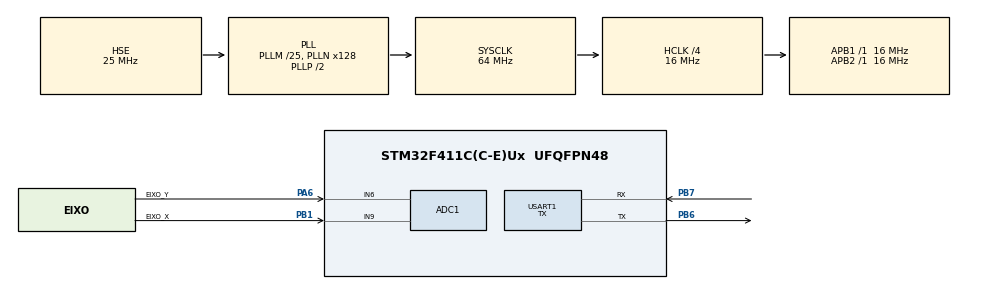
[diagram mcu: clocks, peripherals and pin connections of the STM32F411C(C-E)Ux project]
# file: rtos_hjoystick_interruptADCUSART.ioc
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ADC1.Channel-0\#ChannelRegularConversion=ADC_CHANNEL_9
ADC1.NbrOfConversionFlag=1
ADC1.Rank-0\#ChannelRegularConversion=1
ADC1.SamplingTime-0\#ChannelRegularConversion=ADC_SAMPLETIME_112CYCLES
ADC1.master=1
FREERTOS.Events01=adcEvent,Dynamic,NULL;usartEvent,Dynamic,NULL
FREERTOS.Queues01=sampleQueue,16,SamplePair_t,0,Dynamic,NULL,NULL
FREERTOS.Tasks01=adcTask,24,128,AdcTask,Default,NULL,Dynamic,NULL,NULL;usartTask,8,128,UsartTask,Default,NULL,Dynamic,NULL,NULL
FREERTOS.configUSE_NEWLIB_REENTRANT=1
Mcu.Family=STM32F4
Mcu.Name=STM32F411C(C-E)Ux
Mcu.Package=UFQFPN48
NVIC.ADC_IRQn=true\:5\:0\:false\:false\:true\:true\:true\:true\:true
NVIC.PriorityGroup=NVIC_PRIORITYGROUP_4
NVIC.TIM2_IRQn=true\:15\:0\:false\:false\:true\:false\:false\:true\:true
NVIC.TimeBase=TIM2_IRQn
NVIC.TimeBaseIP=TIM2
NVIC.USART1_IRQn=true\:5\:0\:true\:false\:true\:true\:true\:true\:true
PA13.Mode=Serial_Wire
PA13.Signal=SYS_JTMS-SWDIO
PA14.Mode=Serial_Wire
PA14.Signal=SYS_JTCK-SWCLK
PA6.GPIO_Label=EIXO_Y
PA6.Signal=ADCx_IN6
PB1.GPIO_Label=EIXO_X
PB1.Signal=ADCx_IN9
PB6.Mode=Asynchronous
PB6.Signal=USART1_TX
PB7.Mode=Asynchronous
PB7.Signal=USART1_RX
PH0\ -\ OSC_IN.Mode=HSE-External-Oscillator
PH0\ -\ OSC_IN.Signal=RCC_OSC_IN
PH1\ -\ OSC_OUT.Mode=HSE-External-Oscillator
PH1\ -\ OSC_OUT.Signal=RCC_OSC_OUT
ProjectManager.HeapSize=0x200
ProjectManager.StackSize=0x400
ProjectManager.TargetToolchain=STM32CubeIDE
RCC.48MHZClocksFreq_Value=32000000
RCC.AHBCLKDivider=RCC_SYSCLK_DIV4
RCC.AHBFreq_Value=16000000
RCC.APB1Freq_Value=16000000
RCC.APB1TimFreq_Value=16000000
RCC.APB2Freq_Value=16000000
RCC.APB2TimFreq_Value=16000000
RCC.CortexFreq_Value=16000000
RCC.HCLKFreq_Value=16000000
RCC.HSE_VALUE=25000000
RCC.HSI_VALUE=16000000
RCC.LSE_VALUE=32768
RCC.PLLM=25
RCC.PLLN=128
RCC.PLLSourceVirtual=RCC_PLLSOURCE_HSE
RCC.SYSCLKFreq_VALUE=64000000
RCC.SYSCLKSource=RCC_SYSCLKSOURCE_PLLCLK
RCC.VCOOutputFreq_Value=128000000
SH.ADCx_IN6.0=ADC1_IN6,IN6
SH.ADCx_IN9.0=ADC1_IN9,IN9
USART1.Mode=MODE_TX
USART1.VirtualMode=VM_ASYNC
VP_FREERTOS_VS_CMSIS_V2.Mode=CMSIS_V2
VP_SYS_VS_tim2.Mode=TIM2
board=custom

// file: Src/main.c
/* USER CODE BEGIN Header */
/**
  ******************************************************************************
  * @file           : main.c
  * @brief          : Este projeto realiza as mesmas tarefas do projeto "hjoystick_interruptADCUSART"
  * 				  Os códigos foram desenvolvidos em cima dos códigos gerados pelo STM32CubeMX.
  * @author			: Wu Shin Ting
  * @date			: 19/03/2026
  *
  ******************************************************************************
  * @attention
  *
  * Copyright (c) 2026 STMicroelectronics.
  * All rights reserved.
  *
  * This software is licensed under terms that can be found in the LICENSE file
  * in the root directory of this software component.
  * If no LICENSE file comes with this software, it is provided AS-IS.
  *
  ******************************************************************************
  *
  * @section overview Visão Geral
  *
  * Este projeto implementa um sistema embarcado baseado em RTOS no qual os
  * periféricos ADC e USART são modelados segundo o padrão produtor-consumidor.
  *
  * - O ADC atua como produtor de dados, realizando conversões em dois canais:
  *   - IN6 (eixo Y)
  *   - IN9 (eixo X)
  *
  * - A USART atua como consumidora, sendo responsável por transmitir os dados
  *   adquiridos para um Terminal Serial.
  *
  * A comunicação entre produtor e consumidor é realizada por meio de uma fila
  * (queue), garantindo desacoplamento temporal e estrutural entre aquisição e
  * transmissão.
  *
  * Para preservar o disparo por software das conversões ADC em dois canais
  * distintos, utiliza-se um mecanismo de sincronização baseado em flags de
  * evento. Esse mecanismo coordena:
  * - O callback @ref HAL_ADC_ConvCpltCallback, que indica o término de uma
  *   conversão individual;
  * - A task responsável pelo ADC (AdcTask), que dispara a aquisição de um novo
  *   par de amostras (eixo X, eixo Y).
  *
  * Dessa forma, garante-se que cada ciclo completo de aquisição (par de canais)
  * seja tratado como uma unidade lógica antes de iniciar um novo ciclo.
  *
  * @section user_code Código Implementado Manualmente
  *
  * Os principais elementos implementados manualmente são:
  * - Estrutura @c SamplePair_t para armazenar pares de amostras (IN6, IN9)
  * - Callback @ref HAL_ADC_ConvCpltCallback para:
  *   - alternar dinamicamente o canal ADC
  *   - montar pares de amostras
  *   - enviar dados para a fila
  * - Uso de:
  *   - @c osMessageQueuePut para comunicação com tasks
  *   - função @c setaAdcEventFlag para sincronização com a AdcTask
  *
  * O sistema evita processamento pesado em interrupções, delegando o fluxo
  * principal de controle para tarefas RTOS.
  *
  * @section mental_model Modelo Mental do Sistema
  *
  * O comportamento do sistema pode ser descrito pelo seguinte fluxo:
  *
  * @code
  * [AdcTask]
  *     ↓ (disparo de conversão)
  * [ADC]
  *     ↓ (interrupção)
  * [HAL_ADC_ConvCpltCallback]
  *     ↓
  * [montagem parcial ou completa do par]
  *     ↓
  * [fila RTOS]
  *     ↓
  * [Task consumidora (ex: USART)]
  * @endcode
  *
  * E para sincronização do ciclo completo:
  *
  * @code
  * Callback de EOC → seta flag → AdcTask libera novo ciclo
  * Callback de TXE → seta flag → UsartTask libera nova trasnsmissão
  * @endcode
  *
  * Esse modelo garante:
  * - desacoplamento entre aquisição e processamento
  * - previsibilidade temporal
  * - ausência de polling
  *
  * @section cube_config Configuração no CubeMX
  *
  * As principais configurações realizadas no CubeMX incluem:
  *
  * - ADC:
  *   - Modo com interrupção (IT)
  *   - Um canal ativo por vez (reconfigurado dinamicamente)
  *
  * - USART:
  *   - Configurada para transmissão de dados
  *
  * - FreeRTOS (CMSIS-v2):
  *   - Uso de filas (message queues)
  *   - Uso de event flags para sincronização
  *
  * - Clock:
  *   - Fonte externa (HSE) com PLL habilitado
  *
  * - GPIO:
  *   - Configuração dos pinos analógicos e UART
  *
  * A separação entre código gerado e código do usuário é mantida por meio
  * das regiões @c USER CODE, garantindo compatibilidade com regeneração automática.
  */

/* USER CODE END Header */
#include "main.h"
#include "cmsis_os.h"
#include "adc.h"
#include "usart.h"
#include "gpio.h"

/* USER CODE BEGIN PV */
SamplePair_t amostra;
volatile uint8_t adc_channel = 9;  /**< Canal ADC atualmente em conversão (começa com PB1) */

/* USER CODE END PV */

void SystemClock_Config(void);
void MX_FREERTOS_Init(void);
/* USER CODE BEGIN PFP */
void setaAdcEventFlag ();
void setaUsartEventFlag ();
void le_amostras();
/* USER CODE END PFP */

int main(void)
{

  /* MCU Configuration--------------------------------------------------------*/

  /* Reset of all peripherals, Initializes the Flash interface and the Systick. */
  HAL_Init();

  /* Configure the system clock */
  SystemClock_Config();

  /* Initialize all configured peripherals */
  MX_GPIO_Init();
  MX_ADC1_Init();
  MX_USART1_UART_Init();

  /* Init scheduler */
  osKernelInitialize();  /* Call init function for freertos objects (in cmsis_os2.c) */
  MX_FREERTOS_Init();

  /* Start scheduler */
  osKernelStart();

  /* We should never get here as control is now taken by the scheduler */

  /* Infinite loop */
  while (1)
  {

  }
}

void SystemClock_Config(void)
{
  RCC_OscInitTypeDef RCC_OscInitStruct = {0};
  RCC_ClkInitTypeDef RCC_ClkInitStruct = {0};

  /** Configure the main internal regulator output voltage
  */
  __HAL_RCC_PWR_CLK_ENABLE();
  __HAL_PWR_VOLTAGESCALING_CONFIG(PWR_REGULATOR_VOLTAGE_SCALE1);

  /** Initializes the RCC Oscillators according to the specified parameters
  * in the RCC_OscInitTypeDef structure.
  */
  RCC_OscInitStruct.OscillatorType = RCC_OSCILLATORTYPE_HSE;
  RCC_OscInitStruct.HSEState = RCC_HSE_ON;
  RCC_OscInitStruct.PLL.PLLState = RCC_PLL_ON;
  RCC_OscInitStruct.PLL.PLLSource = RCC_PLLSOURCE_HSE;
  RCC_OscInitStruct.PLL.PLLM = 25;
  RCC_OscInitStruct.PLL.PLLN = 128;
  RCC_OscInitStruct.PLL.PLLP = RCC_PLLP_DIV2;
  RCC_OscInitStruct.PLL.PLLQ = 4;
  if (HAL_RCC_OscConfig(&RCC_OscInitStruct) != HAL_OK)
  {
    Error_Handler();
  }

  /** Initializes the CPU, AHB and APB buses clocks
  */
  RCC_ClkInitStruct.ClockType = RCC_CLOCKTYPE_HCLK|RCC_CLOCKTYPE_SYSCLK
                              |RCC_CLOCKTYPE_PCLK1|RCC_CLOCKTYPE_PCLK2;
  RCC_ClkInitStruct.SYSCLKSource = RCC_SYSCLKSOURCE_PLLCLK;
  RCC_ClkInitStruct.AHBCLKDivider = RCC_SYSCLK_DIV4;
  RCC_ClkInitStruct.APB1CLKDivider = RCC_HCLK_DIV1;
  RCC_ClkInitStruct.APB2CLKDivider = RCC_HCLK_DIV1;

  if (HAL_RCC_ClockConfig(&RCC_ClkInitStruct, FLASH_LATENCY_0) != HAL_OK)
  {
    Error_Handler();
  }
}

/* USER CODE BEGIN 4 */
/**
  * @brief Callback de término de conversão ADC. Esta função é chamada automaticamente pela HAL
  * ao término de cada conversão ADC em modo interrupção.
  *
  * O comportamento implementado alterna dinamicamente entre os canais:
  * - ADC_CHANNEL_6 (eixo Y)
  * - ADC_CHANNEL_9 (eixo X)
  *
  * Funcionamento:
  * - Armazena a amostra atual
  * - Reconfigura o próximo canal
  * - Ao completar o par (ch6 + ch9):
  *   - envia os dados para a fila RTOS
  *   - sinaliza a task via event flag
  *
  * @param hadc Ponteiro para a estrutura do ADC
  * @retval None
  *
  * @note
  * - A função deve ser rápida (executa em contexto de interrupção)
  * - Não realiza bloqueios
  * - Utiliza comunicação assíncrona via fila
  */
void HAL_ADC_ConvCpltCallback(ADC_HandleTypeDef* hadc)
{
	if(hadc->Instance == ADC1)
	{
		uint16_t value = HAL_ADC_GetValue(hadc);  /**< Lê o valor convertido */

		/* Alterna entre os canais 6 (EIXO_Y) e 9 (EIXO_X) */
		if(adc_channel == 6)
		{
			amostra.ch6 = value;

			/**
			 * @brief Configuração do próximo canal: ADC_CHANNEL_9
			 *
			 * IMPORTANTE:
			 * A estrutura é inicializada com zero para evitar lixo de memória.
			 * Em seguida, TODOS os campos relevantes são explicitamente definidos.
			 */
			ADC_ChannelConfTypeDef sConfig = {0};

			sConfig.Channel      = ADC_CHANNEL_9;               /**< Seleção do canal físico */
			sConfig.Rank         = 1;                           /**< Rank 1 na sequência regular */
			sConfig.SamplingTime = ADC_SAMPLETIME_112CYCLES;    /**< Tempo de amostragem */
			sConfig.Offset       = 0;                           /**< Offset digital */

			HAL_ADC_ConfigChannel(hadc, &sConfig);

			setaAdcEventFlag();

			adc_channel = 9;
		}
		else
		{
			amostra.ch9 = value;

			/**
			 * @brief Configuração do próximo canal: ADC_CHANNEL_6
			 *
			 * Todos os campos da estrutura são explicitamente configurados
			 * para garantir previsibilidade do hardware.
			 */
			ADC_ChannelConfTypeDef sConfig = {0};

			sConfig.Channel      = ADC_CHANNEL_6;
			sConfig.Rank         = 1;
			sConfig.SamplingTime = ADC_SAMPLETIME_112CYCLES;
			sConfig.Offset       = 0;

			HAL_ADC_ConfigChannel(hadc, &sConfig);

			adc_channel = 6;

			/**< Reinicia a conversão em modo interrupção */
			HAL_ADC_Start_IT(hadc);
		}
	}
}

/**
  * @brief Callback de término de transmissão UART.
  *
  * Chamado quando uma transmissão via USART é concluída.
  *
  * Pode ser utilizado para:
  * - liberar buffers
  * - sinalizar tasks
  * - iniciar nova transmissão
  *
  * @param phuart Ponteiro para a UART
  * @retval None
  */
void HAL_UART_TxCpltCallback (UART_HandleTypeDef *phuart) {
    if (phuart->Instance == USART1)  // garante que é a UART correta
    {
        setaUsartEventFlag();
    }
}

/**
 * @brief Lê amostras dos canais e armazena em uma estrutura de saída.
 *
 * @details
 * Esta função copia os valores atuais das amostras dos canais 6 e 9
 * da estrutura global `amostra` para a estrutura apontada por `par`.
 * É utilizada para encapsular o acesso às amostras, facilitando a
 * organização e possível modificação futura da origem dos dados.
 *
 * @param[out] par Ponteiro para a estrutura do tipo SamplePair_t
 *                 onde os valores dos canais serão armazenados.
 *
 * @pre O ponteiro `par` deve ser válido (não nulo).
 * @post Os campos `ch6` e `ch9` da estrutura apontada por `par`
 *       conterão os valores atuais das respectivas amostras do ADC1.
 */
void le_amostras (SamplePair_t *par) {
    par->ch6 = amostra.ch6;
    par->ch9 = amostra.ch9;
}

/* USER CODE END 4 */

void HAL_TIM_PeriodElapsedCallback(TIM_HandleTypeDef *htim)
{
  if (htim->Instance == TIM2)
  {
    HAL_IncTick();
  }
}

void Error_Handler(void)
{
  __disable_irq();
  while (1)
  {
  }
}

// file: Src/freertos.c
/* USER CODE BEGIN Header */
/**
  ******************************************************************************
  * @File       : freertos.c
  * @brief 		: Configuração e inicialização dos objetos do FreeRTOS (CMSIS-RTOS v2).
  * @author 	: Wu Shin Ting
  * @data		: 19/03/2026
  ******************************************************************************
  * @attention
  *
  * Copyright (c) 2026 STMicroelectronics.
  * All rights reserved.
  *
  * This software is licensed under terms that can be found in the LICENSE file
  * in the root directory of this software component.
  * If no LICENSE file comes with this software, it is provided AS-IS.
  *
  ******************************************************************************
  * @details
  * Este arquivo define e inicializa os principais elementos do sistema RTOS,
  * incluindo tarefas (threads), filas de mensagens (queues) e flags de eventos.
  *
  * O sistema implementa uma arquitetura baseada no padrão produtor-consumidor,
  * com separação clara entre aquisição de dados, processamento e transmissão.
  *
   * Duas tarefas principais (tasks/threads) são criadas:
  *
  * - @c AdcTask (prioridade normal):
  *   Responsável por controlar o ciclo de aquisição do ADC. Dispara conversões
  *   em modo interrupção e aguarda a conclusão de um par de amostras por meio
  *   de uma flag de evento.
  *
  * - @c UsartTask (prioridade baixa):
  *   Atua como consumidora, recebendo dados da fila e realizando a transmissão
  *   via UART de forma não bloqueante.
  *
  * A diferença de prioridade garante que a aquisição de dados tenha precedência
  * sobre a transmissão, mantendo a integridade temporal do sistema.
  *
  * Uma fila (queue) é criada.
  * - @c sampleQueue:
  *   Fila de mensagens utilizada para transferir pares de amostras do ADC
  *   (@c SamplePair_t) da camada de aquisição (ISR/callback) para a task
  *   de processamento/transmissão.
  *
  * Características:
  * - Capacidade: 16 elementos
  * - Tipo: estrutura contendo dois canais (IN6 e IN9)
  *
  * Papel:
  * - Desacoplar produtor (ADC) e consumidor (USART)
  * - Absorver variações de tempo entre aquisição e transmissão
  * - Evitar perda de dados em picos de processamento
  *
  *E duas flags de evento são definidas.
  * - @c adcEvent:
  *   Flag de evento utilizada para sincronizar a conclusão de um ciclo completo
  *   de aquisição ADC (par de canais).
  *
  * - @c usartEvent:
  *   Flag de evento utilizada para sincronizar a conclusão de uma transmissão completa
  *   de uma string.
  *
  * Funcionamento:
  * - O callback do ADC sinaliza a flag ao finalizar um par de conversões
  * - A @c AdcTask aguarda essa sinalização antes de iniciar um novo ciclo
  * - O callback do USART sinaliza a flag ao finalizar uma transmissão de string
  * - A @c UsartTask aguarda essa sinalização antes de iniciar uma nova transmissão
  *
  * Papel:
  * - Garantir controle determinístico do fluxo de aquisição
  * - Evitar sobreposição de ciclos de conversão/transmissão
  * - Manter o disparo do ADC sob controle explícito da AdcTask
  * - Manter o início de uma transmissão sob controle explícito da UsartTask
  * O RTOS atua como um orquestrador transparente do fluxo de execução:
  *
  * @code
  * [AdcTask] → dispara ADC
  *      ↓
  * [ISR / Callback ADC]
  *      ↓
  * [Fila (sampleQueue)]
  *      ↓
  * [UsartTask] → envia string
  *      ↓
  * [ISR / Callback USART]
  *      ↓
  * [Terminal Serial]
  * @endcode
  *
  * E para sincronização:
  *
  * @code
  * Callback ADC → seta flag → AdcTask libera novo ciclo
  * Callback USART → seta flag → usartTask libera nova transmissão
  * @endcode
  *
  * Essa organização permite que:
  * - O fluxo de controle seja reativo e orientado a eventos
  * - O código permaneça modular e escalável
  * - A complexidade de concorrência seja abstraída pelo RTOS
  *
  * Em outras palavras, o programador define *o que* deve acontecer, enquanto o RTOS gerencia
  * *quando* e *em que ordem* as tarefas são executadas.
  */
/* USER CODE END Header */

#include "FreeRTOS.h"
#include "task.h"
#include "main.h"
#include "cmsis_os.h"

/* USER CODE BEGIN Includes */
#include "string.h"
#include "adc.h"
#include "usart.h"
/* USER CODE END Includes */

/* USER CODE BEGIN PD */
#define BAR_WIDTH   40   /**< Largura da barra ASCII */
#define ADC_MAX     4095 /**< Valor máximo do ADC (12 bits) */
/* USER CODE END PD */

/* USER CODE BEGIN Variables */
uint8_t tx_buffer[100];  /**< buffer de transmissão */
SamplePair_t sample;

/* USER CODE END Variables */
/* Definitions for adcTask */
osThreadId_t adcTaskHandle;
const osThreadAttr_t adcTask_attributes = {
  .name = "adcTask",
  .stack_size = 128 * 4,
  .priority = (osPriority_t) osPriorityNormal,
};
/* Definitions for usartTask */
osThreadId_t usartTaskHandle;
const osThreadAttr_t usartTask_attributes = {
  .name = "usartTask",
  .stack_size = 128 * 4,
  .priority = (osPriority_t) osPriorityLow,
};
/* Definitions for sampleQueue */
osMessageQueueId_t sampleQueueHandle;
const osMessageQueueAttr_t sampleQueue_attributes = {
  .name = "sampleQueue"
};
/* Definitions for adcEvent */
osEventFlagsId_t adcEventHandle;
const osEventFlagsAttr_t adcEvent_attributes = {
  .name = "adcEvent"
};
/* Definitions for usartEvent */
osEventFlagsId_t usartEventHandle;
const osEventFlagsAttr_t usartEvent_attributes = {
  .name = "usartEvent"
};

/* USER CODE BEGIN FunctionPrototypes */
void setaUsartEventFlag ();
void setaAdcEventFlag ();
osMessageQueueId_t get_sampleQueueHandle(void);
void le_amostras();
/* USER CODE END FunctionPrototypes */

void AdcTask(void *argument);
void UsartTask(void *argument);

void MX_FREERTOS_Init(void); /* (MISRA C 2004 rule 8.1) */

void MX_FREERTOS_Init(void) {
  /* USER CODE BEGIN Init */
	/**
	  * @brief Inicializa os objetos do FreeRTOS.
	  *
	  * Cria e configura todos os elementos necessários para execução do sistema:
	  * - Fila de mensagens (@c sampleQueue)
	  * - Tasks (@c AdcTask e @c UsartTask)
	  * - Event flags (@c adcEvent)
	  *
	  * @param None
	  * @retval None
	  *
	  * @note
	  * Esta função deve ser chamada após @c osKernelInitialize() e antes de
	  * @c osKernelStart().
	  */
  /* USER CODE END Init */

  /* Create the queue(s) */
  /* creation of sampleQueue */
  sampleQueueHandle = osMessageQueueNew (16, sizeof(SamplePair_t), &sampleQueue_attributes);

  /* Create the thread(s) */
  /* creation of adcTask */
  adcTaskHandle = osThreadNew(AdcTask, NULL, &adcTask_attributes);

  /* creation of usartTask */
  usartTaskHandle = osThreadNew(UsartTask, NULL, &usartTask_attributes);

  /* Create the event(s) */
  /* creation of adcEvent */
  adcEventHandle = osEventFlagsNew(&adcEvent_attributes);

  /* creation of usartEvent */
  usartEventHandle = osEventFlagsNew(&usartEvent_attributes);

}

/* USER CODE BEGIN Header_AdcTask */
/**
  * @brief Task responsável pelo controle do ciclo de aquisição ADC.
  *
  * Esta task implementa o controle de alto nível das conversões ADC em modo
  * interrupção, atuando como o elemento coordenador do ciclo de aquisição
  * de pares de amostras (canais IN6 e IN9).
  *
  * @details
  * O funcionamento segue um modelo orientado a eventos:
  *
  * 1. A task inicia uma conversão ADC chamando @c HAL_ADC_Start_IT().
  * 2. O hardware ADC realiza a conversão e gera uma interrupção ao final.
  * 3. O callback @ref HAL_ADC_ConvCpltCallback trata cada conversão:
  *    - alterna entre os canais
  *    - monta um par de amostras (eixo X, eixo Y)
  *    - sinaliza a conclusão do par via event flag
  * 4. A task bloqueia em @c osEventFlagsWait(), aguardando essa sinalização.
  * 5. Ao receber o evento, reinicia o ciclo com uma nova conversão.
  *
  * Esse mecanismo garante que:
  * - as conversões sejam disparadas exclusivamente por software
  * - cada par de amostras seja tratado como uma unidade lógica
  * - não haja polling, mantendo eficiência no uso da CPU
  *
  * @param argument Parâmetro da task (não utilizado)
  * @retval None
  *
  * @note
  * - A task permanece bloqueada enquanto aguarda o término de um ciclo completo
  *   de aquisição, liberando a CPU para outras tarefas.
  * - A sincronização com o callback do ADC é feita por meio de event flags.
  * - O uso de @c HAL_ADC_Start_IT() mantém o processamento fora da task,
  *   delegando ao hardware e à ISR o controle fino da conversão.
  *
  * @warning
  * - Esta função nunca retorna (loop infinito).
  * - Não deve conter operações bloqueantes adicionais além da espera por evento,
  *   para não comprometer a previsibilidade do sistema.
  */
/* USER CODE END Header_AdcTask */
void AdcTask(void *argument)
{
  /* USER CODE BEGIN AdcTask */
	/* Infinite loop */
	for(;;)
	{
		HAL_ADC_Start_IT(&hadc1);

		osEventFlagsWait(adcEventHandle, 0x01, osFlagsWaitAny, osWaitForever);

        /* Envio não bloqueante para fila tratada por uma tarefa */
		SamplePair_t par;

		le_amostras (&par);

        (void)osMessageQueuePut(sampleQueueHandle, &par, 0U, 0U);

	}
  /* USER CODE END AdcTask */
}

/* USER CODE BEGIN Header_UsartTask */
/**
  * @brief Task responsável pelo consumo e transmissão de amostras via USART.
  *
  * Esta task implementa o papel de consumidora no padrão produtor-consumidor,
  * recebendo pares de amostras ADC a partir de uma fila RTOS e convertendo-os
  * em uma representação textual para transmissão via UART.
  *
  * @details
  * O funcionamento segue o fluxo:
  *
  * 1. A task bloqueia aguardando dados na fila @c sampleQueueHandle.
  * 2. Ao receber uma nova amostra (@c SamplePair_t):
  *    - Converte os valores ADC em posições relativas dentro de uma barra ASCII.
  *    - Constrói uma string no formato:
  *      @code
  *      X: [   o     ]  Y: [      o ]
  *      @endcode
  *    - Transmite o buffer via UART utilizando modo não bloqueante.
  *    - A task bloqueia aguardando o evento que indica a conclusão de transmissão
  *
  * A visualização utiliza uma barra de tamanho fixo (@c BAR_WIDTH), onde a
  * posição do caractere 'o' representa a magnitude do sinal em cada eixo:
  * - Canal IN9 → eixo X
  * - Canal IN6 → eixo Y
  *
  * @param argument Parâmetro da task (não utilizado)
  * @retval None
  *
  * @note
  * - A task permanece bloqueada em @c osMessageQueueGet(), garantindo uso
  *   eficiente da CPU (sem polling).
  * - A transmissão UART é realizada via @c HAL_UART_Transmit_IT(), evitando
  *   bloqueio da execução.
  * - O buffer @c tx_buffer deve possuir tamanho suficiente para acomodar
  *   toda a string formatada.
  *
  * @warning
  * - O uso de @c sizeof(tx_buffer)-1 assume que o buffer está completamente
  *   preenchido; inconsistências na construção da string podem gerar envio
  *   de dados inválidos.
  * - Não há proteção explícita contra acesso concorrente ao @c tx_buffer;
  *   esta task deve ser a única responsável por sua manipulação.
  *
  * @see HAL_UART_TxCpltCallback
  * @see osMessageQueueGet
  * @see HAL_ADC_ConvCpltCallback
  */
/* USER CODE END Header_UsartTask */
void UsartTask(void *argument)
{
  /* USER CODE BEGIN UsartTask */
	/* Infinite loop */

	for(;;)
	{
		if (osMessageQueueGet(sampleQueueHandle, &sample, NULL, osWaitForever) == osOK)
		{
			// agora 'sample' contém os dados retirados da fila
			/**
			 * @brief Inicializa prefixo do buffer de transmissão.
			 *
			 * Formato esperado:
			 *   "X: [........]  Y: [........]"
			 */
			strcpy ((char *)tx_buffer, "\rX: [");
			/**
			 * @brief Converte valores ADC em posição de barra.
			 *
			 * Escala o valor bruto do ADC para a largura da barra ASCII.
			 */
			uint8_t bar_x_pos = (sample.ch9 * BAR_WIDTH) / ADC_MAX;
			uint8_t bar_y_pos = (sample.ch6 * BAR_WIDTH) / ADC_MAX;

			uint8_t i;
			/**
			 * ================= Construção da Barra X =================
			 */
			for (i = 0; i < BAR_WIDTH; i++)
				tx_buffer[5+i] = (i == bar_x_pos ? 'o' : ' ');

			tx_buffer[5+i] = '\0';
			strcat ((char *)tx_buffer, "]  Y: [");

			/**
			 * ================= Construção da Barra Y =================
			 *
			 * Offset fixo baseado no layout da string.
			 */
			for (i = 0; i < BAR_WIDTH; i++)
				tx_buffer[52+i] = (i == bar_y_pos ? 'o' : ' ');

			tx_buffer[52+i] = '\0';
			strcat ((char *)tx_buffer, "]");

			/**
			 * @brief Transmissão não bloqueante via interrupção.
			 *
			 * Funcionamento interno da HAL_UART_Transmit_IT():
			 *
			 *  1. Habilita interrupção TXE (TXEIE no CR1).
			 *  2. Carrega primeiro byte no registrador DR.
			 *  3. A cada flag TXE, ISR envia próximo byte.
			 *  4. Ao finalizar buffer, desabilita TXEIE.
			 *  5. Quando TC é detectado, chama:
			 *       HAL_UART_TxCpltCallback()
			 *
			 * Vantagem:
			 *  - CPU permanece livre durante transmissão.
			 *  - Arquitetura totalmente não bloqueante.
			 */
			if (HAL_UART_Transmit_IT(&huart1, tx_buffer, strlen((char *)tx_buffer) + 1)) {
				osEventFlagsWait(usartEventHandle, 0x01, osFlagsWaitAny, osWaitForever);
			}
		}
	}
  /* USER CODE END UsartTask */
}

/* USER CODE BEGIN Application */
/**
  * @brief Retorna o handle da fila de amostras.
  *
  * Permite que módulos independentes (como callbacks) acessem a fila
  * responsável pela comunicação entre produtor (ADC) e consumidor.
  *
  * @retval osMessageQueueId_t Handle da fila de amostras do ADC
  */
osMessageQueueId_t get_sampleQueueHandle(void) {
	return sampleQueueHandle;
}

/**
  * @brief Sinaliza evento de término de aquisição ADC.
  *
  * Utilizada para sincronizar a conclusão de um par de conversões
  * com a task responsável por iniciar um novo ciclo.
  *
  * @retval None
  */
void setaAdcEventFlag () {
    osEventFlagsSet(adcEventHandle, 0x01);
}

/**
  * @brief Sinaliza evento de término de transmissão USART.
  *
  * Utilizada para sincronizar a conclusão de um par de conversões
  * com a task responsável por iniciar um novo ciclo.
  *
  * @retval None
  */
void setaUsartEventFlag () {
    osEventFlagsSet(usartEventHandle, 0x01);
}

/* USER CODE END Application */
